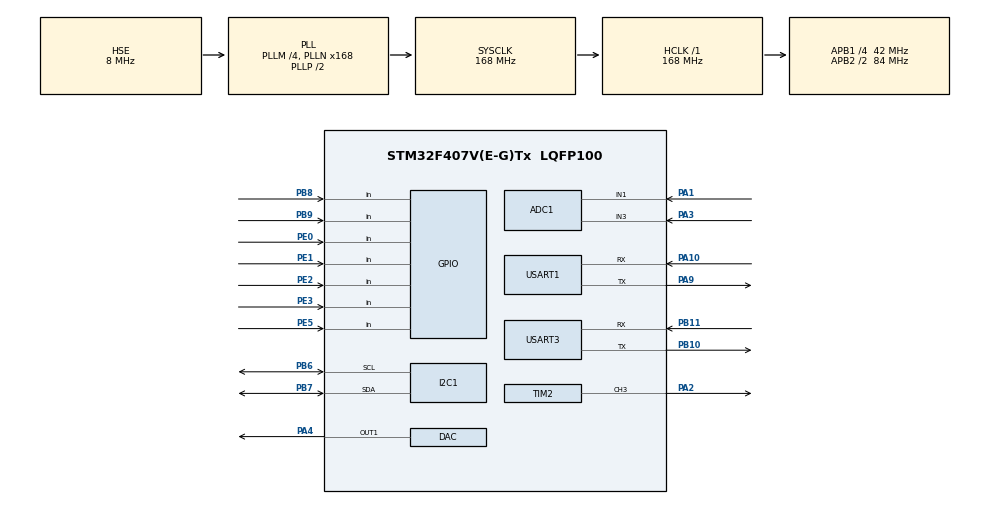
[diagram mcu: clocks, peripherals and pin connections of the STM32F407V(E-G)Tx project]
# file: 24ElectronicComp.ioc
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ADC1.Channel-0\#ChannelRegularConversion=ADC_CHANNEL_1
ADC1.Channel-2\#ChannelRegularConversion=ADC_CHANNEL_3
ADC1.ContinuousConvMode=DISABLE
ADC1.DMAContinuousRequests=DISABLE
ADC1.DiscontinuousConvMode=ENABLE
ADC1.InjNumberOfConversion=0
ADC1.NbrOfConversion=2
ADC1.NbrOfConversionFlag=1
ADC1.Rank-0\#ChannelRegularConversion=1
ADC1.Rank-2\#ChannelRegularConversion=2
ADC1.SamplingTime-0\#ChannelRegularConversion=ADC_SAMPLETIME_15CYCLES
ADC1.SamplingTime-2\#ChannelRegularConversion=ADC_SAMPLETIME_15CYCLES
ADC1.ScanConvMode=ENABLE
ADC1.master=1
DAC.DAC_Trigger=DAC_TRIGGER_NONE
Dma.Request0=USART3_RX
Dma.Request1=USART3_TX
Dma.USART3_RX.0.Direction=DMA_PERIPH_TO_MEMORY
Dma.USART3_RX.0.FIFOMode=DMA_FIFOMODE_DISABLE
Dma.USART3_RX.0.Instance=DMA1_Stream1
Dma.USART3_RX.0.MemDataAlignment=DMA_MDATAALIGN_BYTE
Dma.USART3_RX.0.MemInc=DMA_MINC_ENABLE
Dma.USART3_RX.0.Mode=DMA_NORMAL
Dma.USART3_RX.0.PeriphDataAlignment=DMA_PDATAALIGN_BYTE
Dma.USART3_RX.0.PeriphInc=DMA_PINC_DISABLE
Dma.USART3_RX.0.Priority=DMA_PRIORITY_LOW
Dma.USART3_TX.1.Direction=DMA_MEMORY_TO_PERIPH
Dma.USART3_TX.1.FIFOMode=DMA_FIFOMODE_DISABLE
Dma.USART3_TX.1.Instance=DMA1_Stream3
Dma.USART3_TX.1.MemDataAlignment=DMA_MDATAALIGN_BYTE
Dma.USART3_TX.1.MemInc=DMA_MINC_ENABLE
Dma.USART3_TX.1.Mode=DMA_CIRCULAR
Dma.USART3_TX.1.PeriphDataAlignment=DMA_PDATAALIGN_BYTE
Dma.USART3_TX.1.PeriphInc=DMA_PINC_DISABLE
Dma.USART3_TX.1.Priority=DMA_PRIORITY_LOW
I2C1.I2C_Mode=I2C_Fast
Mcu.Family=STM32F4
Mcu.Name=STM32F407V(E-G)Tx
Mcu.Package=LQFP100
NVIC.ADC_IRQn=true\:0\:0\:false\:false\:true\:true\:true\:true
NVIC.DMA1_Stream1_IRQn=true\:0\:0\:false\:false\:true\:false\:true\:true
NVIC.DMA1_Stream3_IRQn=true\:0\:0\:false\:false\:true\:false\:true\:true
NVIC.PriorityGroup=NVIC_PRIORITYGROUP_4
NVIC.RCC_IRQn=true\:0\:0\:false\:false\:true\:true\:false\:true
NVIC.TIM1_TRG_COM_TIM11_IRQn=true\:0\:0\:false\:false\:true\:true\:true\:true
NVIC.TIM1_UP_TIM10_IRQn=true\:0\:0\:false\:false\:true\:true\:true\:true
NVIC.TIM7_IRQn=true\:0\:0\:false\:false\:true\:true\:true\:true
NVIC.USART1_IRQn=true\:0\:0\:false\:false\:true\:true\:true\:true
NVIC.USART3_IRQn=true\:0\:0\:false\:false\:true\:true\:true\:true
PA1.Signal=ADCx_IN1
PA10.Mode=Asynchronous
PA10.Signal=USART1_RX
PA13.Mode=Serial_Wire
PA13.Signal=SYS_JTMS-SWDIO
PA14.Mode=Serial_Wire
PA14.Signal=SYS_JTCK-SWCLK
PA2.Signal=S_TIM2_CH3
PA3.Signal=ADCx_IN3
PA4.Signal=COMP_DAC1_group
PA9.Mode=Asynchronous
PA9.Signal=USART1_TX
PB10.Mode=Asynchronous
PB10.Signal=USART3_TX
PB11.Mode=Asynchronous
PB11.Signal=USART3_RX
PB6.Mode=I2C
PB6.Signal=I2C1_SCL
PB7.Mode=I2C
PB7.Signal=I2C1_SDA
PB8.GPIO_PuPd=GPIO_PULLUP
PB8.Signal=GPIO_Input
PB9.GPIO_PuPd=GPIO_PULLUP
PB9.Signal=GPIO_Input
PE0.GPIO_PuPd=GPIO_PULLUP
PE0.Signal=GPIO_Input
PE1.GPIO_PuPd=GPIO_PULLUP
PE1.Signal=GPIO_Input
PE2.GPIO_PuPd=GPIO_PULLUP
PE2.Signal=GPIO_Input
PE3.Signal=GPIO_Input
PE5.GPIO_PuPd=GPIO_PULLUP
PE5.Signal=GPIO_Input
PH0-OSC_IN.Mode=HSE-External-Oscillator
PH0-OSC_IN.Signal=RCC_OSC_IN
PH1-OSC_OUT.Mode=HSE-External-Oscillator
PH1-OSC_OUT.Signal=RCC_OSC_OUT
ProjectManager.HeapSize=0x200
ProjectManager.StackSize=0x400
ProjectManager.TargetToolchain=MDK-ARM V5.32
RCC.48MHZClocksFreq_Value=84000000
RCC.AHBFreq_Value=168000000
RCC.APB1CLKDivider=RCC_HCLK_DIV4
RCC.APB1Freq_Value=42000000
RCC.APB1TimFreq_Value=84000000
RCC.APB2CLKDivider=RCC_HCLK_DIV2
RCC.APB2Freq_Value=84000000
RCC.APB2TimFreq_Value=168000000
RCC.CortexFreq_Value=168000000
RCC.HCLKFreq_Value=168000000
RCC.HSE_VALUE=8000000
RCC.HSI_VALUE=16000000
RCC.LSE_VALUE=32768
RCC.PLLM=4
RCC.PLLN=168
RCC.PLLSourceVirtual=RCC_PLLSOURCE_HSE
RCC.SYSCLKFreq_VALUE=168000000
RCC.SYSCLKSource=RCC_SYSCLKSOURCE_PLLCLK
RCC.VCOOutputFreq_Value=336000000
SH.ADCx_IN1.0=ADC1_IN1,IN1
SH.ADCx_IN3.0=ADC1_IN3,IN3
SH.COMP_DAC1_group.0=DAC_OUT1,DAC_OUT1
SH.S_TIM2_CH3.0=TIM2_CH3,PWM Generation3 CH3
TIM10.Period=1
TIM10.Prescaler=420-1
TIM11.Period=8000-1
TIM11.Prescaler=840-1
TIM2.Channel-PWM\ Generation3\ CH3=TIM_CHANNEL_3
TIM2.Period=1000-1
TIM2.Prescaler=1680-1
TIM7.Period=8000-1
TIM7.Prescaler=840-1
USART1.VirtualMode=VM_ASYNC
USART3.VirtualMode=VM_ASYNC
VP_TIM10_VS_ClockSourceINT.Mode=Enable_Timer
VP_TIM11_VS_ClockSourceINT.Mode=Enable_Timer
VP_TIM2_VS_ClockSourceINT.Mode=Internal
VP_TIM7_VS_ClockSourceINT.Mode=Enable_Timer
board=custom

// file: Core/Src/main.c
/* USER CODE BEGIN Header */
/**
  ******************************************************************************
  * @file           : main.c
  * @brief          : Main program body
  ******************************************************************************
  * @attention
  *
  * Copyright (c) 2024 STMicroelectronics.
  * All rights reserved.
  *
  * This software is licensed under terms that can be found in the LICENSE file
  * in the root directory of this software component.
  * If no LICENSE file comes with this software, it is provided AS-IS.
  *
  ******************************************************************************
  */
/* USER CODE END Header */
#include "main.h"
#include "adc.h"
#include "dac.h"
#include "dma.h"
#include "i2c.h"
#include "tim.h"
#include "usart.h"
#include "gpio.h"

/* USER CODE BEGIN Includes */
#include "menu.h"
#include "stdio.h"
#include "oled.h"
#include "geometry.h"
#include "motor.h"
#include "string.h"

struct page p0, p1, p2, p3, p4, p5, p6;
void menu_init(void);
/* USER CODE END Includes */

/* USER CODE BEGIN PD */
#define MAX_DATALEN 128 //X = 53 --> 128
/* USER CODE END PD */

/* USER CODE BEGIN PV */
int16_t sin_wave[MAX_DATALEN];//sin数据缓存
int16_t sincnt=0;//sin数据缓存计数
int16_t squa_wave[MAX_DATALEN];//square数据缓存
int16_t squacnt=0;//square数据缓存计数
int16_t loca_wave[MAX_DATALEN];//location数据缓存
int16_t locacnt=0;//location数据缓存计数

/* USER CODE END PV */

void SystemClock_Config(void);

/* USER CODE BEGIN 0 */

void sin_wave_gen(void)
{
  uint8_t wave_index=0;
  uint8_t wave_i=0;
  sincnt = 0;
  oled_clear();
  oled_show_string(0, 0, "sin_wave_gen()");
  HAL_TIM_Base_Start_IT(&htim10);
  HAL_TIM_Base_Start_IT(&htim7);
  global_wave_type=1;
  __HAL_TIM_SET_AUTORELOAD(&htim10, global_freq);

  while (1)
  {
    wave_i++;
    if(wave_i>=global_freq)
    {
      wave_i=0;
      wave_index++;
      wave_index%=200;
      for(uint8_t i=0;i<MAX_DATALEN;i++)
      {
        uint16_t Pwave = 63-(sin_wave[i]*63/4095);
        OLED_ClearPoint(i,Pwave);
      }
      if(sincnt < MAX_DATALEN)//sine数据保存
			{
				sin_wave[sincnt++] = sine[wave_index];
			}
			else
			{
				memcpy((void *)sin_wave, (void *)(sin_wave + 1), sizeof(sin_wave[0]) * (MAX_DATALEN - 1));
				sin_wave[MAX_DATALEN - 1] = sine[wave_index];
			}
    }
    for (uint8_t i = 0; i < sincnt ; i++)
    {
      uint16_t Pwave = 63-(sin_wave[i]*63/4095);
      OLED_DrawPoint(i,Pwave);
    }
    OLED_Refresh();
    HAL_Delay(1);
    if (ADCY > MAX_ADC_VAL) {
      HAL_Delay(KEY_DelayTime);
      if (ADCY > MAX_ADC_VAL) {
          global_wave_type=0;
          OLED_GClear();
          HAL_TIM_Base_Stop_IT(&htim10);
          MenuRender(1);
          return;
      }
    }
  }
}

void square_wave_gen(void)
{
  uint8_t wave_index=0;
  uint8_t wave_i=0;
  squacnt = 0;
  oled_clear();
  oled_show_string(0, 0, "square_wave_gen()");
  HAL_TIM_Base_Start_IT(&htim10);
  HAL_TIM_Base_Start_IT(&htim7);
  global_wave_type=2;
  __HAL_TIM_SET_AUTORELOAD(&htim10, global_freq);
  while (1)
  {
    wave_i++;
    if(wave_i>=global_freq)
    {
      wave_i=0;
      wave_index++;
      wave_index%=200;
      for(uint8_t i=0;i<MAX_DATALEN;i++)
      {
        uint16_t Swave = 63-(squa_wave[i]*63/4095);
        OLED_ClearPoint(i,Swave);
      }
      if(squacnt < MAX_DATALEN)//squa数据保存
			{
				squa_wave[squacnt++] = square[wave_index];
			}
			else
			{
				memcpy((void *)squa_wave, (void *)(squa_wave + 1), sizeof(squa_wave[0]) * (MAX_DATALEN - 1));
				squa_wave[MAX_DATALEN - 1] = square[wave_index];
			}
    }
    for (uint8_t i = 0; i < squacnt ; i++)
    {
      uint16_t Swave = 63-(squa_wave[i]*63/4095);
      OLED_DrawPoint(i,Swave);
    }
    OLED_Refresh();
    HAL_Delay(1);
    if (ADCY > MAX_ADC_VAL) {
      HAL_Delay(KEY_DelayTime);
      if (ADCY > MAX_ADC_VAL) {
          global_wave_type=0;
          OLED_GClear();
          HAL_TIM_Base_Stop_IT(&htim10);
          MenuRender(1);
          return;
      }
    }
  }
}

void angle_confirm(void)
{
  oled_clear();
  oled_show_string(0, 0, "angle_confirm()");
  __HAL_TIM_SET_COMPARE(&htim2, TIM_CHANNEL_3, HORIZON_PWM);

  while (1)
  {
    oled_show_uint(0,1,HORIZON_PWM,5);
    __HAL_TIM_SET_COMPARE(&htim2, TIM_CHANNEL_3, HORIZON_PWM);
    HAL_Delay(10);

    if (ADCY > MAX_ADC_VAL) {
      HAL_Delay(KEY_DelayTime);
      if (ADCY > MAX_ADC_VAL) {
        MenuRender(1);
        return;
      }
    }
    if (ADCX > MAX_ADC_VAL) {
      HAL_Delay(100);
      if (ADCX > MAX_ADC_VAL) {
          HORIZON_PWM--;
      }
    }
    if (ADCX < MIN_ADC_BAL) {
        HAL_Delay(100);
        if (ADCX < MIN_ADC_BAL) {
          HORIZON_PWM++;
        }
    }
  }
}

void speed_control(void)
{
  oled_clear();
  oled_show_string(0, 0, "speed_control()");
  __HAL_TIM_SET_COMPARE(&htim2, TIM_CHANNEL_3, HORIZON_PWM);
  HAL_TIM_Base_Start_IT(&htim7);
  HAL_UARTEx_ReceiveToIdle_DMA(&huart3,rx_buf,127);
  control_state=1;
  while (1)
  {
    oled_show_int(0,1,speed.now_error,5);
    oled_show_int(0,2,speed.pre_error,5);
    oled_show_int(0,3,speed.pwm_out,5);
    HAL_Delay(10);

    if (ADCY > MAX_ADC_VAL) {
      HAL_Delay(KEY_DelayTime);
      if (ADCY > MAX_ADC_VAL) {
        control_state=0;
        HAL_TIM_Base_Stop_IT(&htim7);
        MenuRender(1);
        return;
      }
    }
  }
}

void location_control(void)
{
  uint8_t tmp_string[30]={0};

  oled_clear();
  oled_show_string(0, 0, "location_control()");
  __HAL_TIM_SET_COMPARE(&htim2, TIM_CHANNEL_3, HORIZON_PWM);
  HAL_TIM_Base_Start_IT(&htim7);
  HAL_UARTEx_ReceiveToIdle_DMA(&huart3,rx_buf,127);
  control_state=2;
  while (1)
  {
    sprintf((char *)tmp_string,"spd_err:%d",speed.now_error);
    oled_show_string(0,1,(const char *)tmp_string);
    sprintf((char *)tmp_string,"spd_out:%d",speed.pwm_out);
    // oled_show_string(0,2,(const char *)tmp_string);
    // sprintf((char *)tmp_string,"actual_loc:%d",(uint8_t)(300-X_now)/5.6);
    oled_show_int(0,2,(300-X_now)/5.6,5);
    oled_show_string(0,3,(const char *)tmp_string);
    sprintf((char *)tmp_string,"loc_err:%d",location.now_error);
    oled_show_string(0,4,(const char *)tmp_string);
    sprintf((char *)tmp_string,"sum_err:%d",location.sum_error);
    oled_show_string(0,5,(const char *)tmp_string);
    sprintf((char *)tmp_string,"loc_out:%d",location.pwm_out);
    oled_show_string(0,6,(const char *)tmp_string);
    sprintf((char *)tmp_string,"total_out:%d",location.pwm_out+speed.pwm_out);
    oled_show_string(0,7,(const char *)tmp_string);
    oled_clear();

    HAL_Delay(10);

    if (ADCY > MAX_ADC_VAL) {
      HAL_Delay(KEY_DelayTime);
      if (ADCY > MAX_ADC_VAL) {
        control_state=0;
        HAL_TIM_Base_Stop_IT(&htim7);
        MenuRender(1);
        return;
      }
    }
  }
}

void location_wave(void)
{
  locacnt=0;
  oled_clear();

  HAL_TIM_Base_Start_IT(&htim7);
  HAL_UARTEx_ReceiveToIdle_DMA(&huart3,rx_buf,127);
  oled_show_string(0, 0, "location:");
  while (1)
  {
    oled_show_int(50, 0, (300-X_now)/5.6+1,5);
    for(uint8_t i=0;i<MAX_DATALEN;i++)
    {
      uint8_t Lwave = loca_wave[i]*50/300;
      OLED_ClearPoint(i,Lwave);
    }
    if(locacnt < MAX_DATALEN)//loca_wave数据保存
    {
      loca_wave[locacnt++] = X_now;
    }
    else
    {
      memcpy((void *)loca_wave, (void *)(loca_wave + 1), sizeof(loca_wave[0]) * (MAX_DATALEN - 1));
      loca_wave[MAX_DATALEN - 1] = X_now;
    }
    for (uint8_t i = 0; i < locacnt ; i++)
    {
      uint8_t Lwave = loca_wave[i]*50/300;
      OLED_DrawPoint(i,Lwave);
    }
    OLED_Refresh();
    HAL_Delay(1);

    if (ADCY > MAX_ADC_VAL) {
      HAL_Delay(KEY_DelayTime);
      if (ADCY > MAX_ADC_VAL) {
        control_state=0;
        OLED_GClear();
        HAL_TIM_Base_Stop_IT(&htim7);
        MenuRender(1);
        return;
      }
    }
  }
}

void loc_wave_oscillation(void)
{
  locacnt=0;
  oled_clear();
  oled_show_string(0, 0, "loc_wave_oscillation()");
  HAL_TIM_Base_Start_IT(&htim7);
  HAL_UARTEx_ReceiveToIdle_DMA(&huart3,rx_buf,127);

  uint8_t coincident_cnt=0; //record the coincident time when ball is in the resonable range of target
  oscillation_tar=130; //set the initial target
   __HAL_TIM_SET_COMPARE(&htim2, TIM_CHANNEL_3,UP_DEG_PWM-10);

  while (1)
  {
      if(my_abs(X_now,oscillation_tar)<30){
        coincident_cnt++;
      }
      printf("X_now=%d\r\n",X_now);
      printf("coincident_cnt=%d\r\n",coincident_cnt);
      //change the oscillation_tar to achieve the sin wave
      if(coincident_cnt>2){
        if(oscillation_tar==130){
          oscillation_tar=170;
          printf("oscillation_tar=%d\r\n",oscillation_tar);
          coincident_cnt=0;
          __HAL_TIM_SET_COMPARE(&htim2, TIM_CHANNEL_3,DOWN_DEG_PWM+10*2);
          // __HAL_TIM_SET_COMPARE(&htim2, TIM_CHANNEL_3,UP_DEG_PWM);
        }
        else if(oscillation_tar==170){
          oscillation_tar=130;
          printf("oscillation_tar=%d\r\n",oscillation_tar);
          coincident_cnt=0;

          __HAL_TIM_SET_COMPARE(&htim2, TIM_CHANNEL_3,UP_DEG_PWM-10);
        }
      }

      for(uint8_t i=0;i<MAX_DATALEN;i++)
      {
        uint16_t Lwave = 64-(loca_wave[i]*64/300);
        OLED_ClearPoint(i,Lwave);
      }
      if(locacnt < MAX_DATALEN)//loca_wave数据保存
			{
				loca_wave[locacnt++] = X_now;
			}
			else
			{
				memcpy((void *)loca_wave, (void *)(loca_wave + 1), sizeof(loca_wave[0]) * (MAX_DATALEN - 1));
				loca_wave[MAX_DATALEN - 1] = X_now;
			}
    for (uint8_t i = 0; i < MAX_DATALEN ; i++)
    {
      uint16_t Lwave = 64-(loca_wave[i]*64/300);
      OLED_DrawPoint(i,Lwave);
    }
    OLED_Refresh();
    HAL_Delay(1);

    if (ADCY > MAX_ADC_VAL) {
      HAL_Delay(KEY_DelayTime);
      if (ADCY > MAX_ADC_VAL) {
        control_state=0; //reset control_state
        OLED_GClear();
        HAL_TIM_Base_Stop_IT(&htim7);
        MenuRender(1);
        return;
      }
    }
  }
}
void Current_Voltage(void)
{
  oled_clear();
  oled_show_string(0, 0, "Show_Current_Voltage");
  while (1)
  {
    oled_show_string(0, 1, "Current:");
    oled_show_float(50,1,current,5,3);
    oled_show_string(0, 2, "Voltage:");
    oled_show_float(50,2,voltage,5,3);
    HAL_Delay(10);
    if (ADCY > MAX_ADC_VAL) {
      HAL_Delay(KEY_DelayTime);
      if (ADCY > MAX_ADC_VAL) {
        MenuRender(1);
        return;
      }
    }
  }
}

/* USER CODE END 0 */

int main(void)
{

  /* MCU Configuration--------------------------------------------------------*/

  /* Reset of all peripherals, Initializes the Flash interface and the Systick. */
  HAL_Init();

  /* Configure the system clock */
  SystemClock_Config();

  /* Initialize all configured peripherals */
  MX_GPIO_Init();
  MX_DMA_Init();
  MX_I2C1_Init();
  MX_USART1_UART_Init();
  MX_ADC1_Init();
  MX_TIM2_Init();
  MX_TIM7_Init();
  MX_DAC_Init();
  MX_TIM10_Init();
  MX_USART3_UART_Init();
  MX_TIM11_Init();
  /* USER CODE BEGIN 2 */
  printf("SYSTEM START\r\n");
  oled_init();
  menu_init();
  sin_basedata(); //basic sin function data generate
  square_basedata(); //basic square function data generate
  HAL_ADC_Start_IT(&hadc1);
  HAL_DAC_Start(&hdac,DAC_CHANNEL_1);
  HAL_TIM_PWM_Start(&htim2, TIM_CHANNEL_3);
  __HAL_TIM_SET_COMPARE(&htim2, TIM_CHANNEL_3, HORIZON_PWM);
  // HAL_TIM_Base_Start_IT(&htim11);
  spd_pid_init();

  // HAL_Delay(3000);
  // loc_wave_oscillation();

  /* USER CODE END 2 */

  /* Infinite loop */
  while (1)
  {

    /* USER CODE BEGIN 3 */
    MenuCmd(key_scan());
    if (navigate[cntpage]->dymantic_page)
    {
        MenuRender(0);
        HAL_Delay(100);
    }
  }
  /* USER CODE END 3 */
}

void SystemClock_Config(void)
{
  RCC_OscInitTypeDef RCC_OscInitStruct = {0};
  RCC_ClkInitTypeDef RCC_ClkInitStruct = {0};

  /** Configure the main internal regulator output voltage
  */
  __HAL_RCC_PWR_CLK_ENABLE();
  __HAL_PWR_VOLTAGESCALING_CONFIG(PWR_REGULATOR_VOLTAGE_SCALE1);

  /** Initializes the RCC Oscillators according to the specified parameters
  * in the RCC_OscInitTypeDef structure.
  */
  RCC_OscInitStruct.OscillatorType = RCC_OSCILLATORTYPE_HSE;
  RCC_OscInitStruct.HSEState = RCC_HSE_ON;
  RCC_OscInitStruct.PLL.PLLState = RCC_PLL_ON;
  RCC_OscInitStruct.PLL.PLLSource = RCC_PLLSOURCE_HSE;
  RCC_OscInitStruct.PLL.PLLM = 4;
  RCC_OscInitStruct.PLL.PLLN = 168;
  RCC_OscInitStruct.PLL.PLLP = RCC_PLLP_DIV2;
  RCC_OscInitStruct.PLL.PLLQ = 4;
  if (HAL_RCC_OscConfig(&RCC_OscInitStruct) != HAL_OK)
  {
    Error_Handler();
  }

  /** Initializes the CPU, AHB and APB buses clocks
  */
  RCC_ClkInitStruct.ClockType = RCC_CLOCKTYPE_HCLK|RCC_CLOCKTYPE_SYSCLK
                              |RCC_CLOCKTYPE_PCLK1|RCC_CLOCKTYPE_PCLK2;
  RCC_ClkInitStruct.SYSCLKSource = RCC_SYSCLKSOURCE_PLLCLK;
  RCC_ClkInitStruct.AHBCLKDivider = RCC_SYSCLK_DIV1;
  RCC_ClkInitStruct.APB1CLKDivider = RCC_HCLK_DIV4;
  RCC_ClkInitStruct.APB2CLKDivider = RCC_HCLK_DIV2;

  if (HAL_RCC_ClockConfig(&RCC_ClkInitStruct, FLASH_LATENCY_5) != HAL_OK)
  {
    Error_Handler();
  }
}

/* USER CODE BEGIN 4 */
void menu_init(void)
{
  add_func(&p0, "<loc_control>", location_control);
  add_func(&p0, "<location_wave>", location_wave);
  add_func(&p0, "<sin_wave_gen>", sin_wave_gen);
  add_func(&p0, "<square_wave_gen>", square_wave_gen);
  add_func(&p0, "<speed_control>", speed_control);
  add_func(&p0, "<Current_Voltage>", Current_Voltage);
  add_func(&p0, "<angle_confirm>", angle_confirm);
  add_subpage(&p0, "<pid>", &p1);
  add_subpage(&p0, "<param>", &p2);

  add_value(&p2, "[loc_target]", (int *)&location_target, 1, NULL);
  add_value(&p2, "[global_freq]", (int *)&global_freq, 1, NULL);
  add_value(&p2, "[HORIZON_PWM]", (int *)&HORIZON_PWM, 1, NULL);

  MenuInit(&p0);
}
/* USER CODE END 4 */

void Error_Handler(void)
{
  __disable_irq();
  while (1)
  {
  }
}
